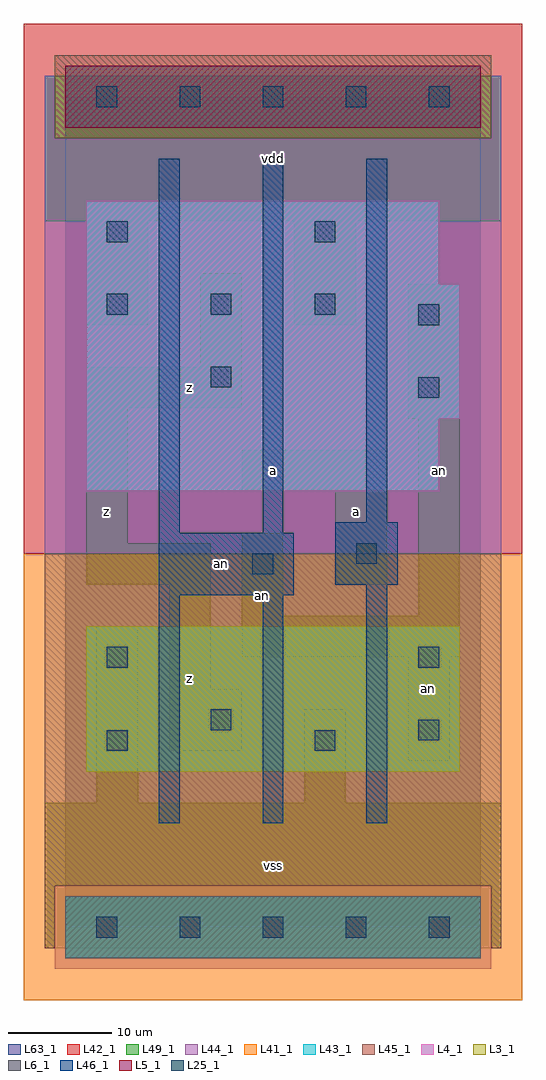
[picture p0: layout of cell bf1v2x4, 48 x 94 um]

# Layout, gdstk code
import gdstk
lib = gdstk.Library(unit=1e-6, precision=1e-09)
def R(c, l, rs):  # rectangles x0, y0, x1, y1
    for r in rs: c.add(gdstk.rectangle(r[:2], r[2:], *l))
def A(c, l, x, y, w, h, nx, ny, dx, dy):  # array of equal rectangles
    R(c, l, [(x+i*dx, y+j*dy, x+i*dx+w, y+j*dy+h) for i in range(nx) for j in range(ny)])
L3_1 = (3, 1)
L4_1 = (4, 1)
L5_1 = (5, 1)
L6_1 = (6, 1)
L25_1 = (25, 1)
L41_1 = (41, 1)
L42_1 = (42, 1)
L43_1 = (43, 1)
L44_1 = (44, 1)
L45_1 = (45, 1)
L46_1 = (46, 1)
L49_1 = (49, 1)
L63_1 = (63, 1)

bf1v2x4 = lib.new_cell('bf1v2x4')
R(bf1v2x4, L3_1, [(2,15,38,29)])
R(bf1v2x4, L4_1, [(2,42,36,49), (2,49,38,62), (2,62,36,70)])
R(bf1v2x4, L5_1, [(0,77,40,83)])
R(bf1v2x4, L6_1, [(0,-3,40,3), (0,-3,40,3)])
A(bf1v2x4, L25_1, 3, -1, 2, 2, 5, 2, 8, 80)
A(bf1v2x4, L25_1, 4, 59, 2, 2, 3, 1, 10, 0)
R(bf1v2x4, L25_1, [(4,17,6,19), (24,17,26,19), (34,18,36,20), (14,19,16,21), (4,25,6,27), (34,25,36,27), (18,34,20,36), (28,35,30,37), (34,51,36,53), (14,52,16,54), (34,58,36,60), (4,66,6,68), (24,66,26,68)])
R(bf1v2x4, L41_1, [(-4,-7,44,36)])
R(bf1v2x4, L42_1, [(-4,36,44,87)])
R(bf1v2x4, L43_1, [(0,-3,40,3), (2,15,38,29), (2,42,36,49), (2,49,38,62), (2,62,36,70), (0,77,40,83)])
R(bf1v2x4, L44_1, [(-1,-4,41,4), (-2,36,42,76), (-2,76,-1,82), (41,76,42,82)])
R(bf1v2x4, L45_1, [(-2,-2,-1,4), (41,-2,42,4), (-2,4,42,36), (-1,76,41,84)])
R(bf1v2x4, L46_1, [(9,10,11,32), (19,10,21,32), (29,10,31,33), (9,32,22,38), (26,33,32,39), (9,38,11,74), (19,38,21,74), (29,39,31,74)])
R(bf1v2x4, L49_1, [(-2,-2,42,12), (3,12,7,29), (23,12,27,21), (33,16,37,26), (10,17,17,23), (10,23,14,33), (17,26,38,30), (17,30,21,38), (34,30,38,49), (2,33,14,37), (26,33,31,42), (2,37,6,50), (17,42,31,46), (33,49,38,62), (2,50,17,54), (13,54,17,63), (2,58,8,68), (22,58,28,68), (-2,68,42,82)])
R(bf1v2x4, L63_1, [(0,0,40,80)])
bf1v2x4.add(gdstk.Label('an', (15,35), layer=46, texttype=1))
bf1v2x4.add(gdstk.Label('z', (4,40), layer=49, texttype=1))
bf1v2x4.add(gdstk.Label('z', (12,24), layer=49, texttype=1))
bf1v2x4.add(gdstk.Label('z', (12,52), layer=49, texttype=1))
bf1v2x4.add(gdstk.Label('vss', (20,6), layer=49, texttype=1))
bf1v2x4.add(gdstk.Label('an', (19,32), layer=49, texttype=1))
bf1v2x4.add(gdstk.Label('a', (28,40), layer=49, texttype=1))
bf1v2x4.add(gdstk.Label('a', (20,44), layer=49, texttype=1))
bf1v2x4.add(gdstk.Label('vdd', (20,74), layer=49, texttype=1))
bf1v2x4.add(gdstk.Label('an', (35,23), layer=49, texttype=1))
bf1v2x4.add(gdstk.Label('an', (36,44), layer=49, texttype=1))

lib.write_gds('bf1v2x4.gds')
